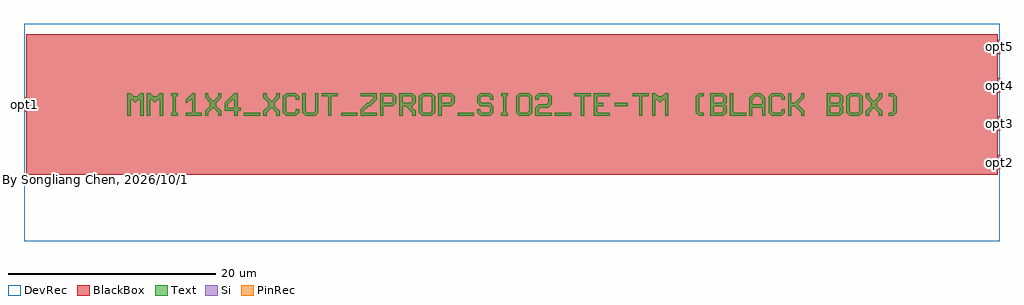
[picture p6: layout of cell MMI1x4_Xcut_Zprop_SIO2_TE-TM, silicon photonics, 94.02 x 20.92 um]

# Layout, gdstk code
import gdstk
lib = gdstk.Library(unit=1e-6, precision=1e-10)
def R(c, l, rs):  # rectangles x0, y0, x1, y1
    for r in rs: c.add(gdstk.rectangle(r[:2], r[2:], *l))
def P(c, l, *ps):  # polygons
    for p in ps: c.add(gdstk.Polygon(p, *l))
Si = (1, 0)
PinRec = (1, 10)
Text = (10, 0)
DevRec = (68, 0)
BlackBox = (998, 0)

text_14 = lib.new_cell('TEXT$14')
R(text_14, Text, [(11.232,0,12.792,0.312), (20.592,0,22.152,0.312), (31.824,0,33.384,0.312), (41.184,0,42.744,0.312), (46.956,0.936,48.204,1.248)])
P(text_14, Text, [(0,0),(0,2.184),(0.312,2.184),(0.624,1.872),(0.936,1.872),(1.248,2.184),(1.56,2.184),(1.56,0),(1.248,0),(1.248,1.56),(1.092,1.56),(0.78,1.248),(0.468,1.56),(0.312,1.56),(0.312,0)],
  [(1.872,0),(1.872,2.184),(2.184,2.184),(2.496,1.872),(2.808,1.872),(3.12,2.184),(3.432,2.184),(3.432,0),(3.12,0),(3.12,1.56),(2.964,1.56),(2.652,1.248),(2.34,1.56),(2.184,1.56),(2.184,0)],
  [(4.212,0),(4.212,0.312),(4.368,0.312),(4.368,1.872),(4.212,1.872),(4.212,2.184),(4.836,2.184),(4.836,1.872),(4.68,1.872),(4.68,0.312),(4.836,0.312),(4.836,0)],
  [(5.616,0),(5.616,0.312),(6.24,0.312),(6.24,1.56),(6.084,1.56),(5.772,1.248),(5.616,1.248),(5.616,1.56),(6.24,2.184),(6.552,2.184),(6.552,0.312),(7.176,0.312),(7.176,0)],
  [(7.488,0),(7.488,0.468),(7.956,0.936),(7.956,1.248),(7.488,1.716),(7.488,2.184),(7.8,2.184),(7.8,1.872),(8.268,1.404),(8.736,1.872),(8.736,2.184),(9.048,2.184),(9.048,1.716),(8.58,1.248),(8.58,0.936),(9.048,0.468),(9.048,0),(8.736,0),(8.736,0.312),(8.268,0.78),(7.8,0.312),(7.8,0)],
  [(10.296,0),(10.296,0.468),(9.36,0.468),(9.36,0.78),(10.296,0.78),(10.296,1.56),(10.14,1.56),(9.672,1.092),(9.672,0.78),(9.36,0.78),(9.36,1.248),(10.296,2.184),(10.608,2.184),(10.608,0.78),(10.92,0.78),(10.92,0.468),(10.608,0.468),(10.608,0)],
  [(13.104,0),(13.104,0.468),(13.572,0.936),(13.572,1.248),(13.104,1.716),(13.104,2.184),(13.416,2.184),(13.416,1.872),(13.884,1.404),(14.352,1.872),(14.352,2.184),(14.664,2.184),(14.664,1.716),(14.196,1.248),(14.196,0.936),(14.664,0.468),(14.664,0),(14.352,0),(14.352,0.312),(13.884,0.78),(13.416,0.312),(13.416,0)],
  [(15.288,0),(14.976,0.312),(14.976,1.872),(15.288,2.184),(16.224,2.184),(16.536,1.872),(16.536,1.56),(16.224,1.56),(16.224,1.716),(16.068,1.872),(15.444,1.872),(15.288,1.716),(15.288,0.468),(15.444,0.312),(16.068,0.312),(16.224,0.468),(16.224,0.624),(16.536,0.624),(16.536,0.312),(16.224,0)],
  [(17.16,0),(16.848,0.312),(16.848,2.184),(17.16,2.184),(17.16,0.468),(17.316,0.312),(17.94,0.312),(18.096,0.468),(18.096,2.184),(18.408,2.184),(18.408,0.312),(18.096,0)],
  [(19.344,0),(19.344,1.872),(18.72,1.872),(18.72,2.184),(20.28,2.184),(20.28,1.872),(19.656,1.872),(19.656,0)],
  [(22.464,0),(22.464,0.624),(23.088,1.248),(23.244,1.248),(23.712,1.716),(23.712,1.872),(22.464,1.872),(22.464,2.184),(24.024,2.184),(24.024,1.56),(23.4,0.936),(23.244,0.936),(22.776,0.468),(22.776,0.312),(24.024,0.312),(24.024,0)],
  [(24.336,0),(24.336,2.184),(25.584,2.184),(25.896,1.872),(25.896,1.248),(25.584,0.936),(24.648,0.936),(24.648,1.248),(25.428,1.248),(25.584,1.404),(25.584,1.716),(25.428,1.872),(24.648,1.872),(24.648,0)],
  [(26.208,0),(26.208,2.184),(27.456,2.184),(27.768,1.872),(26.52,1.872),(26.52,1.248),(27.3,1.248),(27.456,1.404),(27.456,1.716),(27.3,1.872),(27.768,1.872),(27.768,1.248),(27.456,0.936),(27.456,0.78),(27.768,0.468),(27.768,0),(27.456,0),(27.456,0.312),(26.832,0.936),(26.52,0.936),(26.52,0)],
  [(28.392,0),(28.08,0.312),(28.08,1.872),(28.392,2.184),(29.328,2.184),(29.64,1.872),(29.64,1.092),(29.328,1.092),(29.328,1.716),(29.172,1.872),(28.548,1.872),(28.392,1.716),(28.392,0.468),(28.548,0.312),(29.172,0.312),(29.328,0.468),(29.328,1.092),(29.64,1.092),(29.64,0.312),(29.328,0)],
  [(29.952,0),(29.952,2.184),(31.2,2.184),(31.512,1.872),(31.512,1.248),(31.2,0.936),(30.264,0.936),(30.264,1.248),(31.044,1.248),(31.2,1.404),(31.2,1.716),(31.044,1.872),(30.264,1.872),(30.264,0)],
  [(34.008,0),(33.696,0.312),(33.696,0.624),(34.008,0.624),(34.008,0.468),(34.164,0.312),(34.788,0.312),(34.944,0.468),(34.944,0.78),(34.788,0.936),(34.008,0.936),(33.696,1.248),(33.696,1.872),(34.008,2.184),(34.944,2.184),(35.256,1.872),(35.256,1.56),(34.944,1.56),(34.944,1.716),(34.788,1.872),(34.164,1.872),(34.008,1.716),(34.008,1.404),(34.164,1.248),(34.944,1.248),(35.256,0.936),(35.256,0.312),(34.944,0)],
  [(36.036,0),(36.036,0.312),(36.192,0.312),(36.192,1.872),(36.036,1.872),(36.036,2.184),(36.66,2.184),(36.66,1.872),(36.504,1.872),(36.504,0.312),(36.66,0.312),(36.66,0)],
  [(37.752,0),(37.44,0.312),(37.44,1.872),(37.752,2.184),(38.688,2.184),(39,1.872),(39,1.092),(38.688,1.092),(38.688,1.716),(38.532,1.872),(37.908,1.872),(37.752,1.716),(37.752,0.468),(37.908,0.312),(38.532,0.312),(38.688,0.468),(38.688,1.092),(39,1.092),(39,0.312),(38.688,0)],
  [(39.312,0),(39.312,0.78),(39.624,1.092),(40.404,1.092),(40.56,1.248),(40.56,1.716),(40.404,1.872),(39.78,1.872),(39.624,1.716),(39.624,1.56),(39.312,1.56),(39.312,1.872),(39.624,2.184),(40.56,2.184),(40.872,1.872),(40.872,1.092),(40.56,0.78),(39.78,0.78),(39.624,0.624),(39.624,0.312),(40.872,0.312),(40.872,0)],
  [(43.68,0),(43.68,1.872),(43.056,1.872),(43.056,2.184),(44.616,2.184),(44.616,1.872),(43.992,1.872),(43.992,0)],
  [(44.928,0),(44.928,2.184),(46.488,2.184),(46.488,1.872),(45.24,1.872),(45.24,1.248),(45.864,1.248),(45.864,0.936),(45.24,0.936),(45.24,0.312),(46.488,0.312),(46.488,0)],
  [(49.296,0),(49.296,1.872),(48.672,1.872),(48.672,2.184),(50.232,2.184),(50.232,1.872),(49.608,1.872),(49.608,0)],
  [(50.544,0),(50.544,2.184),(50.856,2.184),(51.168,1.872),(51.48,1.872),(51.792,2.184),(52.104,2.184),(52.104,0),(51.792,0),(51.792,1.56),(51.636,1.56),(51.324,1.248),(51.012,1.56),(50.856,1.56),(50.856,0)],
  [(55.068,0),(54.756,0.312),(54.756,1.872),(55.068,2.184),(55.536,2.184),(55.536,1.872),(55.224,1.872),(55.068,1.716),(55.068,0.468),(55.224,0.312),(55.536,0.312),(55.536,0)],
  [(56.16,0),(56.16,2.184),(57.408,2.184),(57.72,1.872),(56.472,1.872),(56.472,1.248),(57.252,1.248),(57.408,1.404),(57.408,1.716),(57.252,1.872),(57.72,1.872),(57.72,1.248),(57.564,1.092),(57.72,0.936),(56.472,0.936),(56.472,0.312),(57.252,0.312),(57.408,0.468),(57.408,0.78),(57.252,0.936),(57.72,0.936),(57.72,0.312),(57.408,0)],
  [(58.032,0),(58.032,2.184),(58.344,2.184),(58.344,0.312),(59.592,0.312),(59.592,0)],
  [(59.904,0),(59.904,1.716),(60.372,2.184),(60.996,2.184),(61.308,1.872),(60.528,1.872),(60.216,1.56),(60.216,1.092),(61.152,1.092),(61.152,1.56),(60.84,1.872),(61.308,1.872),(61.464,1.716),(61.464,0),(61.152,0),(61.152,0.78),(60.216,0.78),(60.216,0)],
  [(62.088,0),(61.776,0.312),(61.776,1.872),(62.088,2.184),(63.024,2.184),(63.336,1.872),(63.336,1.56),(63.024,1.56),(63.024,1.716),(62.868,1.872),(62.244,1.872),(62.088,1.716),(62.088,0.468),(62.244,0.312),(62.868,0.312),(63.024,0.468),(63.024,0.624),(63.336,0.624),(63.336,0.312),(63.024,0)],
  [(63.648,0),(63.648,2.184),(63.96,2.184),(63.96,1.248),(64.272,1.248),(64.896,1.872),(64.896,2.184),(65.208,2.184),(65.208,1.716),(64.584,1.092),(65.208,0.468),(65.208,0),(64.896,0),(64.896,0.312),(64.272,0.936),(63.96,0.936),(63.96,0)],
  [(67.392,0),(67.392,2.184),(68.64,2.184),(68.952,1.872),(67.704,1.872),(67.704,1.248),(68.484,1.248),(68.64,1.404),(68.64,1.716),(68.484,1.872),(68.952,1.872),(68.952,1.248),(68.796,1.092),(68.952,0.936),(67.704,0.936),(67.704,0.312),(68.484,0.312),(68.64,0.468),(68.64,0.78),(68.484,0.936),(68.952,0.936),(68.952,0.312),(68.64,0)],
  [(69.576,0),(69.264,0.312),(69.264,1.872),(69.576,2.184),(70.512,2.184),(70.824,1.872),(70.824,1.092),(70.512,1.092),(70.512,1.716),(70.356,1.872),(69.732,1.872),(69.576,1.716),(69.576,0.468),(69.732,0.312),(70.356,0.312),(70.512,0.468),(70.512,1.092),(70.824,1.092),(70.824,0.312),(70.512,0)],
  [(71.136,0),(71.136,0.468),(71.604,0.936),(71.604,1.248),(71.136,1.716),(71.136,2.184),(71.448,2.184),(71.448,1.872),(71.916,1.404),(72.384,1.872),(72.384,2.184),(72.696,2.184),(72.696,1.716),(72.228,1.248),(72.228,0.936),(72.696,0.468),(72.696,0),(72.384,0),(72.384,0.312),(71.916,0.78),(71.448,0.312),(71.448,0)],
  [(73.32,0),(73.32,0.312),(73.632,0.312),(73.788,0.468),(73.788,1.716),(73.632,1.872),(73.32,1.872),(73.32,2.184),(73.788,2.184),(74.1,1.872),(74.1,0.312),(73.788,0)])

mmi1x4_xcut_zprop_sio2_t = lib.new_cell('MMI1x4_Xcut_Zprop_SIO2_TE-TM')
R(mmi1x4_xcut_zprop_sio2_t, Si, [(46.8,-6.2586,47,-4.8586), (46.8,-2.5529,47,-1.1529), (-47,-0.7,-46.8,0.7), (46.8,1.1529,47,2.5529), (46.8,4.8586,47,6.2586)])
R(mmi1x4_xcut_zprop_sio2_t, DevRec, [(-47,-13.1586,47,7.7586)])
R(mmi1x4_xcut_zprop_sio2_t, BlackBox, [(-46.8,-6.7586,46.8,6.7586)])
mmi1x4_xcut_zprop_sio2_t.add(gdstk.FlexPath([(-46.99,0),(-47.01,0)], 1.4, ends="flush", simple_path=True, layer=1, datatype=10))  # PinRec
mmi1x4_xcut_zprop_sio2_t.add(gdstk.FlexPath([(46.99,-5.5586),(47.01,-5.5586)], 1.4, ends="flush", simple_path=True, layer=1, datatype=10))  # PinRec
mmi1x4_xcut_zprop_sio2_t.add(gdstk.FlexPath([(46.99,-1.8529),(47.01,-1.8529)], 1.4, ends="flush", simple_path=True, layer=1, datatype=10))  # PinRec
mmi1x4_xcut_zprop_sio2_t.add(gdstk.FlexPath([(46.99,1.8529),(47.01,1.8529)], 1.4, ends="flush", simple_path=True, layer=1, datatype=10))  # PinRec
mmi1x4_xcut_zprop_sio2_t.add(gdstk.FlexPath([(46.99,5.5586),(47.01,5.5586)], 1.4, ends="flush", simple_path=True, layer=1, datatype=10))  # PinRec
mmi1x4_xcut_zprop_sio2_t.add(gdstk.Reference(text_14, (-37.05,-1.092)))
mmi1x4_xcut_zprop_sio2_t.add(gdstk.Label('By Songliang Chen, 2026/10/13', (-46.5,-7.2586), layer=10, texttype=0))
mmi1x4_xcut_zprop_sio2_t.add(gdstk.Label('opt1', (-47,0), layer=1, texttype=10))
mmi1x4_xcut_zprop_sio2_t.add(gdstk.Label('opt2', (47,-5.5586), layer=1, texttype=10))
mmi1x4_xcut_zprop_sio2_t.add(gdstk.Label('opt3', (47,-1.8529), layer=1, texttype=10))
mmi1x4_xcut_zprop_sio2_t.add(gdstk.Label('opt4', (47,1.8529), layer=1, texttype=10))
mmi1x4_xcut_zprop_sio2_t.add(gdstk.Label('opt5', (47,5.5586), layer=1, texttype=10))

lib.write_gds('MMI1x4_Xcut_Zprop_SIO2_TE-TM.gds')
